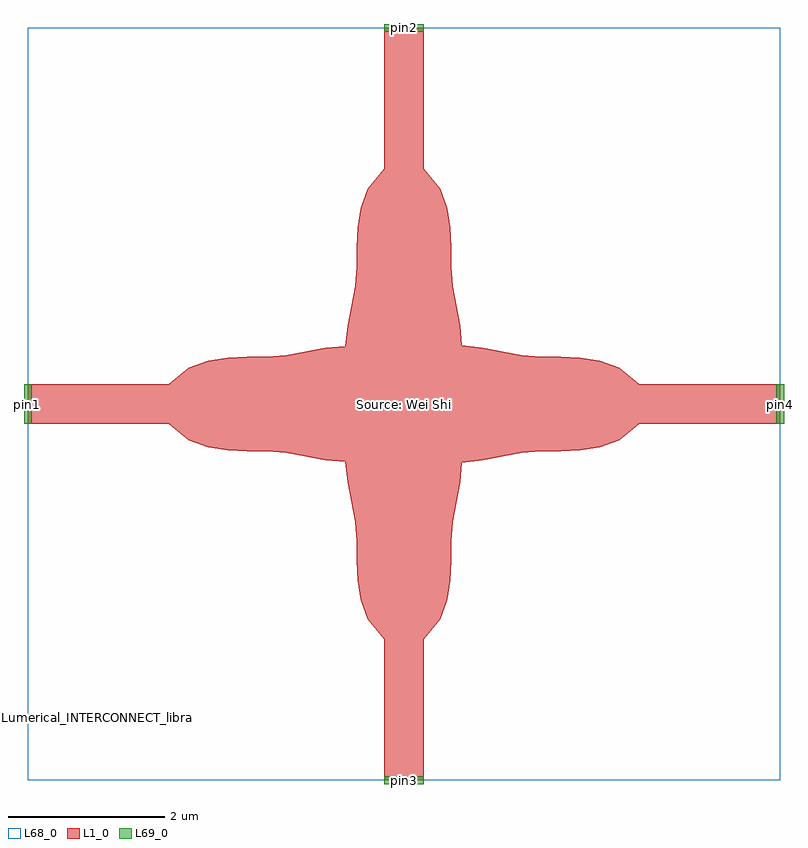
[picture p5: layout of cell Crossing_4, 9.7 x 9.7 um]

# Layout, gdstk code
import gdstk
lib = gdstk.Library(unit=1e-6, precision=1e-09)
def R(c, l, rs):  # rectangles x0, y0, x1, y1
    for r in rs: c.add(gdstk.rectangle(r[:2], r[2:], *l))
def P(c, l, *ps):  # polygons
    for p in ps: c.add(gdstk.Polygon(p, *l))
L1_0 = (1, 0)
L68_0 = (68, 0)
L69_0 = (69, 0)

crossing_4 = lib.new_cell('Crossing_4')
P(crossing_4, L1_0, [(-0.25,-4.8),(-0.25,-3),(-0.46,-2.75),(-0.55,-2.5),(-0.59,-2.25),(-0.6,-2),(-0.6,-1.75),(-0.62,-1.5),(-0.72,-1),(-0.75,-0.74),(-1,-0.72),(-1.5,-0.62),(-1.75,-0.6),(-2,-0.6),(-2.25,-0.59),(-2.5,-0.55),(-2.75,-0.46),(-3,-0.25),(-4.8,-0.25),(-4.8,0.25),(-3,0.25),(-2.75,0.46),(-2.5,0.55),(-2.25,0.59),(-2,0.6),(-1.75,0.6),(-1.5,0.62),(-1,0.72),(-0.75,0.74),(-0.72,1),(-0.62,1.5),(-0.6,1.75),(-0.6,2),(-0.59,2.25),(-0.55,2.5),(-0.46,2.75),(-0.25,3),(-0.25,4.8),(0.25,4.8),(0.25,3),(0.46,2.75),(0.55,2.5),(0.59,2.25),(0.6,2),(0.6,1.75),(0.62,1.5),(0.72,1),(0.74,0.75),(1,0.72),(1.5,0.62),(1.75,0.6),(2,0.6),(2.25,0.59),(2.5,0.55),(2.75,0.46),(3,0.25),(4.8,0.25),(4.8,-0.25),(3,-0.25),(2.75,-0.46),(2.5,-0.55),(2.25,-0.59),(2,-0.6),(1.75,-0.6),(1.5,-0.62),(1,-0.72),(0.74,-0.75),(0.72,-1),(0.62,-1.5),(0.6,-1.75),(0.6,-2),(0.59,-2.25),(0.55,-2.5),(0.46,-2.75),(0.25,-3),(0.25,-4.8)])
R(crossing_4, L68_0, [(-4.8,-4.8,4.8,4.8)])
crossing_4.add(gdstk.FlexPath([(-4.85,0),(-4.75,0)], 0.5, ends="flush", simple_path=True, layer=69, datatype=0))  # L69_0
crossing_4.add(gdstk.FlexPath([(4.85,0),(4.75,0)], 0.5, ends="flush", simple_path=True, layer=69, datatype=0))  # L69_0
crossing_4.add(gdstk.FlexPath([(0,4.85),(0,4.75)], 0.5, ends="flush", simple_path=True, layer=69, datatype=0))  # L69_0
crossing_4.add(gdstk.FlexPath([(0,-4.85),(0,-4.75)], 0.5, ends="flush", simple_path=True, layer=69, datatype=0))  # L69_0
crossing_4.add(gdstk.Label('Source: Wei Shi', (0,0), layer=10, texttype=0))
crossing_4.add(gdstk.Label('pin4', (4.8,0), layer=69, texttype=0))
crossing_4.add(gdstk.Label('pin3', (0,-4.8), layer=69, texttype=0))
crossing_4.add(gdstk.Label('pin1', (-4.8,0), layer=69, texttype=0))
crossing_4.add(gdstk.Label('pin2', (0,4.8), layer=69, texttype=0))
crossing_4.add(gdstk.Label('Lumerical_INTERCONNECT_library=Design kits/ebeam_v1.2', (-4,-4), layer=68, texttype=0))

lib.write_gds('Crossing_4.gds')
